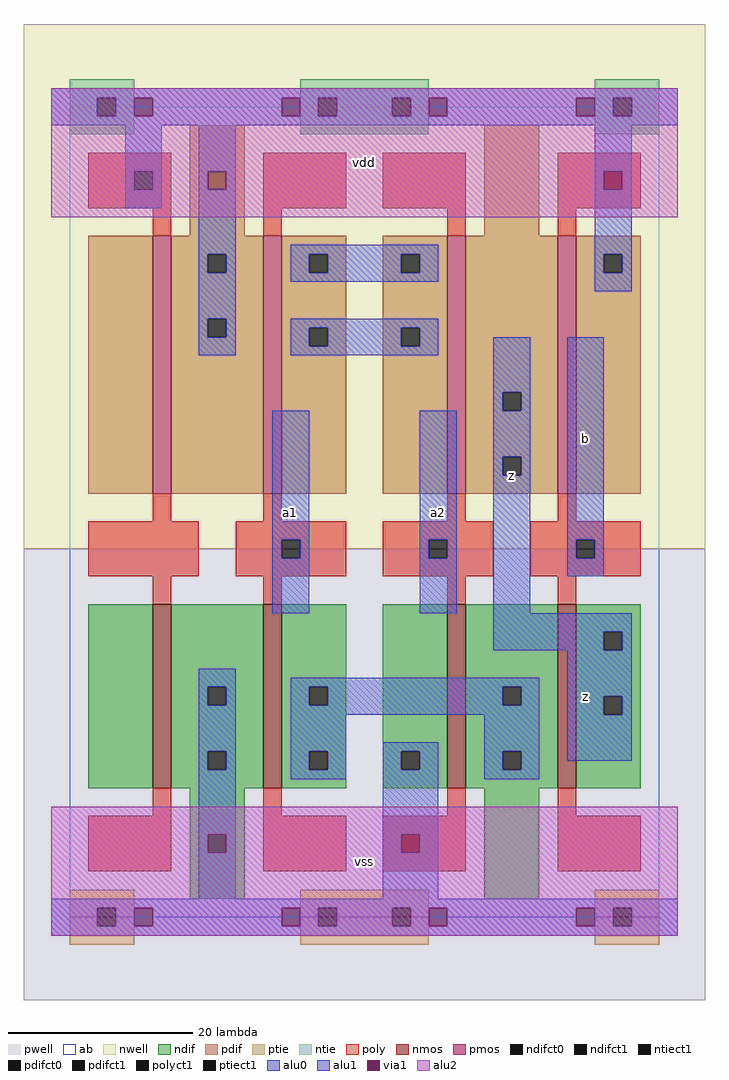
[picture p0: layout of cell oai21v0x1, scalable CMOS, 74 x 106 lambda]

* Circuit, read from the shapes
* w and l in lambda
.subckt oai21v0x1 a1 a2 b vdd vss z
M1 vss vdd n1 vss nfet w=20 l=2
M2 n2 a1 vss vss nfet w=20 l=2
M3 n2 a2 vss vss nfet w=20 l=2
M4 z b n2 vss nfet w=20 l=2
M5 vdd vdd n3 vdd pfet w=28 l=2
M6 n4 a1 vdd vdd pfet w=28 l=2
M7 z a2 n4 vdd pfet w=28 l=2
M8 vdd b z vdd pfet w=28 l=2
.ends

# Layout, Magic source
magic
tech scmos
<< ab >>
rect 0 0 64 88
<< nwell >>
rect -5 40 69 97
<< pwell >>
rect -5 -9 69 40
<< poly >>
rect 2 81 11 83
rect 2 79 7 81
rect 9 79 11 81
rect 2 77 11 79
rect 9 74 11 77
rect 21 77 30 83
rect 34 77 43 83
rect 21 74 23 77
rect 41 74 43 77
rect 53 77 62 83
rect 53 74 55 77
rect 9 43 11 46
rect 21 43 23 46
rect 41 43 43 46
rect 53 43 55 46
rect 2 37 14 43
rect 18 41 30 43
rect 18 39 23 41
rect 25 39 30 41
rect 18 37 30 39
rect 34 41 46 43
rect 34 39 39 41
rect 41 39 46 41
rect 34 37 46 39
rect 50 41 62 43
rect 50 39 55 41
rect 57 39 62 41
rect 50 37 62 39
rect 9 34 11 37
rect 21 34 23 37
rect 41 34 43 37
rect 53 34 55 37
rect 9 11 11 14
rect 2 5 11 11
rect 21 11 23 14
rect 41 11 43 14
rect 21 5 30 11
rect 34 5 43 11
rect 53 11 55 14
rect 53 5 62 11
<< ndif >>
rect 2 14 9 34
rect 11 25 21 34
rect 11 23 15 25
rect 17 23 21 25
rect 11 18 21 23
rect 11 16 15 18
rect 17 16 21 18
rect 11 14 21 16
rect 23 25 30 34
rect 23 23 26 25
rect 28 23 30 25
rect 23 18 30 23
rect 23 16 26 18
rect 28 16 30 18
rect 23 14 30 16
rect 34 18 41 34
rect 34 16 36 18
rect 38 16 41 18
rect 34 14 41 16
rect 43 25 53 34
rect 43 23 47 25
rect 49 23 53 25
rect 43 18 53 23
rect 43 16 47 18
rect 49 16 53 18
rect 43 14 53 16
rect 55 31 62 34
rect 55 29 58 31
rect 60 29 62 31
rect 55 24 62 29
rect 55 22 58 24
rect 60 22 62 24
rect 55 14 62 22
rect 13 2 19 14
rect 45 2 51 14
<< pdif >>
rect 13 74 19 86
rect 45 74 51 86
rect 2 46 9 74
rect 11 72 21 74
rect 11 70 15 72
rect 17 70 21 72
rect 11 65 21 70
rect 11 63 15 65
rect 17 63 21 65
rect 11 46 21 63
rect 23 72 30 74
rect 23 70 26 72
rect 28 70 30 72
rect 23 64 30 70
rect 23 62 26 64
rect 28 62 30 64
rect 23 46 30 62
rect 34 72 41 74
rect 34 70 36 72
rect 38 70 41 72
rect 34 64 41 70
rect 34 62 36 64
rect 38 62 41 64
rect 34 46 41 62
rect 43 57 53 74
rect 43 55 47 57
rect 49 55 53 57
rect 43 50 53 55
rect 43 48 47 50
rect 49 48 53 50
rect 43 46 53 48
rect 55 72 62 74
rect 55 70 58 72
rect 60 70 62 72
rect 55 46 62 70
<< alu1 >>
rect -2 89 66 90
rect -2 87 3 89
rect 5 87 7 89
rect 9 87 23 89
rect 25 87 27 89
rect 29 87 35 89
rect 37 87 39 89
rect 41 87 55 89
rect 57 87 59 89
rect 61 87 66 89
rect -2 86 66 87
rect 6 81 10 86
rect 6 79 7 81
rect 9 79 10 81
rect 6 77 10 79
rect 14 81 18 86
rect 14 79 15 81
rect 17 79 18 81
rect 14 72 18 79
rect 57 81 61 86
rect 57 79 58 81
rect 60 79 61 81
rect 14 70 15 72
rect 17 70 18 72
rect 14 65 18 70
rect 57 72 61 79
rect 57 70 58 72
rect 60 70 61 72
rect 57 68 61 70
rect 14 63 15 65
rect 17 63 18 65
rect 14 61 18 63
rect 46 57 50 63
rect 46 55 47 57
rect 49 55 50 57
rect 22 41 26 55
rect 22 39 23 41
rect 25 39 26 41
rect 22 33 26 39
rect 38 41 42 55
rect 38 39 39 41
rect 41 39 42 41
rect 38 33 42 39
rect 46 50 50 55
rect 46 48 47 50
rect 49 48 50 50
rect 46 33 50 48
rect 54 41 58 63
rect 54 39 55 41
rect 57 39 58 41
rect 54 37 58 39
rect 46 31 61 33
rect 46 29 58 31
rect 60 29 61 31
rect 14 25 18 27
rect 14 23 15 25
rect 17 23 18 25
rect 14 18 18 23
rect 14 16 15 18
rect 17 16 18 18
rect 14 9 18 16
rect 34 18 40 19
rect 34 16 36 18
rect 38 16 40 18
rect 14 7 15 9
rect 17 7 18 9
rect 14 2 18 7
rect 34 9 40 16
rect 54 24 61 29
rect 54 22 58 24
rect 60 22 61 24
rect 54 17 61 22
rect 34 7 36 9
rect 38 7 40 9
rect 34 2 40 7
rect -2 1 66 2
rect -2 -1 3 1
rect 5 -1 7 1
rect 9 -1 23 1
rect 25 -1 27 1
rect 29 -1 35 1
rect 37 -1 39 1
rect 41 -1 55 1
rect 57 -1 59 1
rect 61 -1 66 1
rect -2 -2 66 -1
<< alu2 >>
rect -2 89 66 90
rect -2 87 7 89
rect 9 87 23 89
rect 25 87 39 89
rect 41 87 55 89
rect 57 87 66 89
rect -2 81 66 87
rect -2 79 15 81
rect 17 79 58 81
rect 60 79 66 81
rect -2 76 66 79
rect -2 9 66 12
rect -2 7 15 9
rect 17 7 36 9
rect 38 7 66 9
rect -2 1 66 7
rect -2 -1 7 1
rect 9 -1 23 1
rect 25 -1 39 1
rect 41 -1 55 1
rect 57 -1 66 1
rect -2 -2 66 -1
<< ptie >>
rect 0 1 7 3
rect 0 -1 3 1
rect 5 -1 7 1
rect 0 -3 7 -1
rect 25 1 39 3
rect 25 -1 27 1
rect 29 -1 35 1
rect 37 -1 39 1
rect 25 -3 39 -1
rect 57 1 64 3
rect 57 -1 59 1
rect 61 -1 64 1
rect 57 -3 64 -1
<< ntie >>
rect 0 89 7 91
rect 0 87 3 89
rect 5 87 7 89
rect 0 85 7 87
rect 25 89 39 91
rect 25 87 27 89
rect 29 87 35 89
rect 37 87 39 89
rect 25 85 39 87
rect 57 89 64 91
rect 57 87 59 89
rect 61 87 64 89
rect 57 85 64 87
<< nmos >>
rect 9 14 11 34
rect 21 14 23 34
rect 41 14 43 34
rect 53 14 55 34
<< pmos >>
rect 9 46 11 74
rect 21 46 23 74
rect 41 46 43 74
rect 53 46 55 74
<< polyct1 >>
rect 7 79 9 81
rect 23 39 25 41
rect 39 39 41 41
rect 55 39 57 41
<< ndifct0 >>
rect 26 23 28 25
rect 26 16 28 18
rect 47 23 49 25
rect 47 16 49 18
<< ndifct1 >>
rect 15 23 17 25
rect 15 16 17 18
rect 36 16 38 18
rect 58 29 60 31
rect 58 22 60 24
<< ntiect1 >>
rect 3 87 5 89
rect 27 87 29 89
rect 35 87 37 89
rect 59 87 61 89
<< ptiect1 >>
rect 3 -1 5 1
rect 27 -1 29 1
rect 35 -1 37 1
rect 59 -1 61 1
<< pdifct0 >>
rect 26 70 28 72
rect 26 62 28 64
rect 36 70 38 72
rect 36 62 38 64
<< pdifct1 >>
rect 15 70 17 72
rect 15 63 17 65
rect 47 55 49 57
rect 47 48 49 50
rect 58 70 60 72
<< alu0 >>
rect 24 72 40 73
rect 24 70 26 72
rect 28 70 36 72
rect 38 70 40 72
rect 24 69 40 70
rect 24 64 40 65
rect 24 62 26 64
rect 28 62 36 64
rect 38 62 40 64
rect 24 61 40 62
rect 24 25 51 26
rect 24 23 26 25
rect 28 23 47 25
rect 49 23 51 25
rect 24 22 51 23
rect 24 18 30 22
rect 24 16 26 18
rect 28 16 30 18
rect 24 15 30 16
rect 45 18 51 22
rect 45 16 47 18
rect 49 16 51 18
rect 45 15 51 16
<< via1 >>
rect 7 87 9 89
rect 23 87 25 89
rect 39 87 41 89
rect 55 87 57 89
rect 15 79 17 81
rect 58 79 60 81
rect 15 7 17 9
rect 36 7 38 9
rect 7 -1 9 1
rect 23 -1 25 1
rect 39 -1 41 1
rect 55 -1 57 1
<< labels >>
rlabel alu1 24 44 24 44 6 a1
rlabel alu1 40 44 40 44 6 a2
rlabel alu1 56 24 56 24 6 z
rlabel alu1 48 48 48 48 6 z
rlabel alu1 56 52 56 52 6 b
rlabel alu2 32 6 32 6 6 vss
rlabel alu2 32 82 32 82 6 vdd
<< end >>
